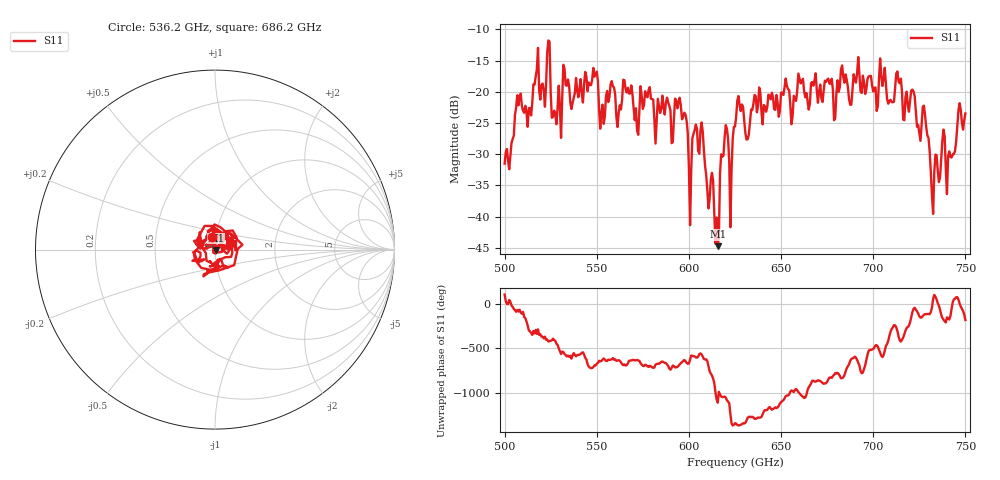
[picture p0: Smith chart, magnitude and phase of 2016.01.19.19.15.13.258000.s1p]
!Created with skrf (http://scikit-rf.org).
# GHz S RI R 50.0
!freq ReS11 ImS11
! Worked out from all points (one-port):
!   401 points, 500 GHz to 750 GHz, reference 50 ohm
!   lowest |S11| = -44.7 dB at 615.6 GHz (marker M1), VSWR 1.01, Z = 50.5 - j0.275 ohm
!   |S11| at or under -10 dB: start of sweep to end of sweep
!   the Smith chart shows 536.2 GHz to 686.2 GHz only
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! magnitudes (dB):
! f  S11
! 500 GHz  -31.5
! 516.9 GHz  -17.5
! 520.6 GHz  -18.7
! 523.8 GHz  -11.8
! 526.9 GHz  -23.0
! 531.2 GHz  -21.0
! 549.4 GHz  -17.2
! 552.5 GHz  -23.4
! 558.8 GHz  -19.1
! 562.5 GHz  -22.2
! 565.6 GHz  -19.6
! 571.2 GHz  -22.7
! 593.8 GHz  -22.7
! 600.6 GHz  -41.4
! 603.1 GHz  -26.2
! 607.5 GHz  -26.4
! 615.6 GHz  -44.7
! 618.8 GHz  -30.2
! 623.1 GHz  -32.5
! 625 GHz  -25.6
! 656.2 GHz  -23.9
! 660.6 GHz  -18.7
! 687.5 GHz  -22.1
! 705 GHz  -19.1
! 718.8 GHz  -22.2
! 728.1 GHz  -23.8
! 732.5 GHz  -39.6
! 750 GHz  -23.5
